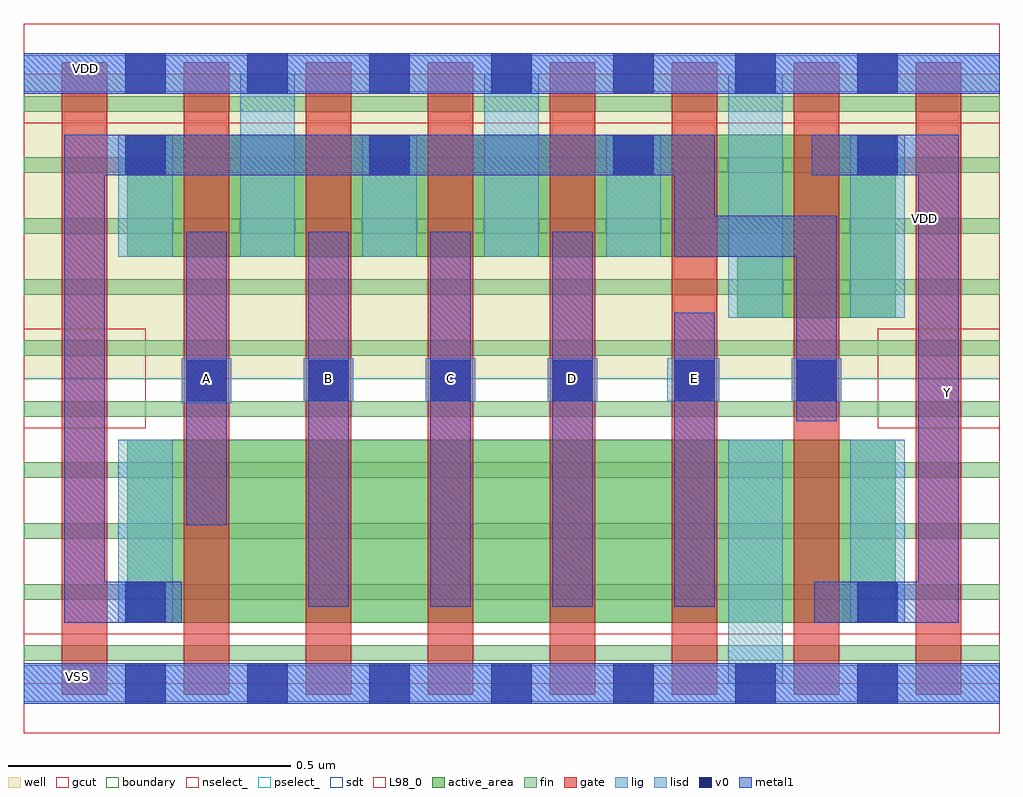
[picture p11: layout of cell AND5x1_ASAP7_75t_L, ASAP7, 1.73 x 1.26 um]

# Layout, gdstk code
import gdstk
lib = gdstk.Library(unit=1e-6, precision=2.5e-10)
def R(c, l, rs):  # rectangles x0, y0, x1, y1
    for r in rs: c.add(gdstk.rectangle(r[:2], r[2:], *l))
def A(c, l, x, y, w, h, nx, ny, dx, dy):  # array of equal rectangles
    R(c, l, [(x+i*dx, y+j*dy, x+i*dx+w, y+j*dy+h) for i in range(nx) for j in range(ny)])
def P(c, l, *ps):  # polygons
    for p in ps: c.add(gdstk.Polygon(p, *l))
well = (1, 0)
fin = (2, 0)
gate = (7, 0)
gcut = (10, 0)
active_area = (11, 0)
nselect_ = (12, 0)
pselect_ = (13, 0)
lig = (16, 0)
lisd = (17, 0)
v0 = (18, 0)
metal1 = (19, 0)
sdt = (88, 0)
L98_0 = (98, 0)
boundary = (100, 0)

and5x1_asap7_75t_l = lib.new_cell('AND5x1_ASAP7_75t_L')
R(and5x1_asap7_75t_l, well, [(0,0.54,1.728,1.08)])
A(and5x1_asap7_75t_l, fin, 0, 0.04, 1.728, 0.028, 1, 10, 0, 0.108)
A(and5x1_asap7_75t_l, gate, 0.068, -0.02, 0.08, 1.12, 8, 1, 0.216, 0)
R(and5x1_asap7_75t_l, gcut, [(0,-0.088,1.728,0.088), (0,0.452,0.216,0.628), (1.512,0.452,1.728,0.628), (0,0.992,1.728,1.168)])
R(and5x1_asap7_75t_l, active_area, [(0.184,0.108,1.544,0.432)])
P(and5x1_asap7_75t_l, active_area, [(1.544,0.972),(0.184,0.972),(0.184,0.756),(1.264,0.756),(1.264,0.648),(1.544,0.648)])
R(and5x1_asap7_75t_l, nselect_, [(0,0,1.728,0.54)])
R(and5x1_asap7_75t_l, pselect_, [(0,0.54,1.728,1.08)])
A(and5x1_asap7_75t_l, lig, 0.496, 0.5, 0.088, 0.076, 3, 1, 0.216, 0)
R(and5x1_asap7_75t_l, lig, [(0,-0.032,1.728,0.032), (0.28,0.496,0.368,0.576), (1.14,0.5,1.232,0.576), (1.36,0.5,1.448,0.576), (0,1.048,1.728,1.112)])
A(and5x1_asap7_75t_l, lisd, 0.168, 0.756, 0.096, 0.216, 3, 1, 0.432, 0)
R(and5x1_asap7_75t_l, lisd, [(1.248,0,1.344,0.432), (0.168,0.108,0.264,0.432), (1.464,0.108,1.56,0.432), (1.248,0.648,1.344,1.08), (1.464,0.648,1.56,0.972), (0.384,0.756,0.48,1.08), (0.816,0.756,0.912,1.08)])
A(and5x1_asap7_75t_l, v0, 0.18, -0.036, 0.072, 0.072, 7, 2, 0.216, 1.08)
A(and5x1_asap7_75t_l, v0, 0.288, 0.5, 0.072, 0.072, 6, 1, 0.216, 0)
A(and5x1_asap7_75t_l, v0, 0.18, 0.9, 0.072, 0.072, 4, 1, 0.432, 0)
R(and5x1_asap7_75t_l, v0, [(0.18,0.108,0.252,0.18), (1.476,0.108,1.548,0.18)])
A(and5x1_asap7_75t_l, metal1, 0.504, 0.136, 0.072, 0.664, 3, 1, 0.216, 0)
R(and5x1_asap7_75t_l, metal1, [(0,-0.036,1.728,0.036), (1.152,0.136,1.224,0.656), (0.288,0.28,0.36,0.8), (0,1.044,1.728,1.116)])
P(and5x1_asap7_75t_l, metal1, [(1.656,0.972),(1.396,0.972),(1.396,0.9),(1.584,0.9),(1.584,0.18),(1.4,0.18),(1.4,0.108),(1.656,0.108)],
  [(1.44,0.828),(1.224,0.828),(1.224,0.972),(0.072,0.972),(0.072,0.108),(0.28,0.108),(0.28,0.18),(0.144,0.18),(0.144,0.9),(1.152,0.9),(1.152,0.756),(1.368,0.756),(1.368,0.464),(1.44,0.464)])
A(and5x1_asap7_75t_l, sdt, 0.168, 0.756, 0.096, 0.216, 5, 1, 0.216, 0)
R(and5x1_asap7_75t_l, sdt, [(0.168,0.108,0.264,0.432), (1.248,0.108,1.344,0.432), (1.464,0.108,1.56,0.432), (1.248,0.648,1.344,0.972), (1.464,0.648,1.56,0.972)])
R(and5x1_asap7_75t_l, L98_0, [(0,0,1.728,1.08)])
R(and5x1_asap7_75t_l, boundary, [(0,0,1.728,1.08)])
and5x1_asap7_75t_l.add(gdstk.Label('VDD', (1.596,0.824), layer=1, texttype=251))
and5x1_asap7_75t_l.add(gdstk.Label('B', (0.54,0.54), layer=19, texttype=251))
and5x1_asap7_75t_l.add(gdstk.Label('A', (0.324,0.54), layer=19, texttype=251))
and5x1_asap7_75t_l.add(gdstk.Label('C', (0.756,0.54), layer=19, texttype=251))
and5x1_asap7_75t_l.add(gdstk.Label('VDD', (0.11,1.088), layer=19, texttype=251))
and5x1_asap7_75t_l.add(gdstk.Label('VSS', (0.096,0.012), layer=19, texttype=251))
and5x1_asap7_75t_l.add(gdstk.Label('D', (0.972,0.54), layer=19, texttype=251))
and5x1_asap7_75t_l.add(gdstk.Label('E', (1.188,0.54), layer=19, texttype=251))
and5x1_asap7_75t_l.add(gdstk.Label('Y', (1.636,0.516), layer=19, texttype=251))
and5x1_asap7_75t_l.add(gdstk.Label('VSS', (0.744,-0.208), layer=3, texttype=251))

lib.write_gds('AND5x1_ASAP7_75t_L.gds')
